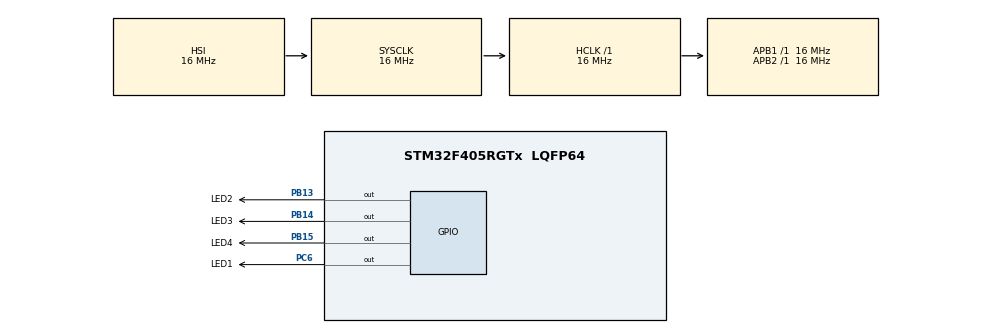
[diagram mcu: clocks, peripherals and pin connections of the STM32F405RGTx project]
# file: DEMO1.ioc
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Mcu.Family=STM32F4
Mcu.Name=STM32F405RGTx
Mcu.Package=LQFP64
NVIC.PriorityGroup=NVIC_PRIORITYGROUP_4
PA13.Mode=Serial_Wire
PA13.Signal=SYS_JTMS-SWDIO
PA14.Mode=Serial_Wire
PA14.Signal=SYS_JTCK-SWCLK
PB13.GPIO_Label=LED2
PB13.Signal=GPIO_Output
PB14.GPIO_Label=LED3
PB14.Signal=GPIO_Output
PB15.GPIO_Label=LED4
PB15.Signal=GPIO_Output
PC14-OSC32_IN.Mode=LSE-External-Oscillator
PC14-OSC32_IN.Signal=RCC_OSC32_IN
PC15-OSC32_OUT.Mode=LSE-External-Oscillator
PC15-OSC32_OUT.Signal=RCC_OSC32_OUT
PC6.GPIO_Label=LED1
PC6.Signal=GPIO_Output
PH0-OSC_IN.Mode=HSE-External-Oscillator
PH0-OSC_IN.Signal=RCC_OSC_IN
PH1-OSC_OUT.Mode=HSE-External-Oscillator
PH1-OSC_OUT.Signal=RCC_OSC_OUT
ProjectManager.HeapSize=0x200
ProjectManager.StackSize=0x400
ProjectManager.TargetToolchain=STM32CubeIDE
RCC.AHBFreq_Value=16000000
RCC.APB1Freq_Value=16000000
RCC.APB2Freq_Value=16000000
RCC.CortexFreq_Value=16000000
RCC.HSE_VALUE=25000000
RCC.HSI_VALUE=16000000
RCC.SYSCLKFreq_VALUE=16000000
RCC.VCOOutputFreq_Value=192000000
board=custom

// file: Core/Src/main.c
/* USER CODE BEGIN Header */
/**
  ******************************************************************************
  * @file           : main.c
  * @brief          : Main program body
  ******************************************************************************
  * @attention
  *
  * Copyright (c) 2023 STMicroelectronics.
  * All rights reserved.
  *
  * This software is licensed under terms that can be found in the LICENSE file
  * in the root directory of this software component.
  * If no LICENSE file comes with this software, it is provided AS-IS.
  *
  ******************************************************************************
  */
/* USER CODE END Header */
#include "main.h"

void SystemClock_Config(void);
static void MX_GPIO_Init(void);

int main(void)
{

  /* MCU Configuration--------------------------------------------------------*/

  /* Reset of all peripherals, Initializes the Flash interface and the Systick. */
  HAL_Init();

  /* Configure the system clock */
  SystemClock_Config();

  /* Initialize all configured peripherals */
  MX_GPIO_Init();

  /* Infinite loop */
  /* USER CODE BEGIN WHILE */
  while (1)
  {
	  HAL_GPIO_WritePin(GPIOC,LED1_Pin,0);
	  HAL_Delay(20);
	  HAL_GPIO_WritePin(GPIOC,LED1_Pin,1);
	  HAL_Delay(20);
	  HAL_GPIO_WritePin(GPIOB,LED2_Pin,0);
	  HAL_Delay(20);
	  HAL_GPIO_WritePin(GPIOB,LED2_Pin,1);
	  HAL_Delay(20);
	  HAL_GPIO_WritePin(GPIOB,LED3_Pin,0);
	  HAL_Delay(20);
	  HAL_GPIO_WritePin(GPIOB,LED3_Pin,1);
	  HAL_Delay(20);
	  HAL_GPIO_WritePin(GPIOB,LED4_Pin,0);
	  HAL_Delay(20);
	  HAL_GPIO_WritePin(GPIOB,LED4_Pin,1);
	  HAL_Delay(20);

    /* USER CODE END WHILE */

  }
}

void SystemClock_Config(void)
{
  RCC_OscInitTypeDef RCC_OscInitStruct = {0};
  RCC_ClkInitTypeDef RCC_ClkInitStruct = {0};

  /** Configure the main internal regulator output voltage
  */
  __HAL_RCC_PWR_CLK_ENABLE();
  __HAL_PWR_VOLTAGESCALING_CONFIG(PWR_REGULATOR_VOLTAGE_SCALE1);

  /** Initializes the RCC Oscillators according to the specified parameters
  * in the RCC_OscInitTypeDef structure.
  */
  RCC_OscInitStruct.OscillatorType = RCC_OSCILLATORTYPE_HSI;
  RCC_OscInitStruct.HSIState = RCC_HSI_ON;
  RCC_OscInitStruct.HSICalibrationValue = RCC_HSICALIBRATION_DEFAULT;
  RCC_OscInitStruct.PLL.PLLState = RCC_PLL_NONE;
  if (HAL_RCC_OscConfig(&RCC_OscInitStruct) != HAL_OK)
  {
    Error_Handler();
  }

  /** Initializes the CPU, AHB and APB buses clocks
  */
  RCC_ClkInitStruct.ClockType = RCC_CLOCKTYPE_HCLK|RCC_CLOCKTYPE_SYSCLK
                              |RCC_CLOCKTYPE_PCLK1|RCC_CLOCKTYPE_PCLK2;
  RCC_ClkInitStruct.SYSCLKSource = RCC_SYSCLKSOURCE_HSI;
  RCC_ClkInitStruct.AHBCLKDivider = RCC_SYSCLK_DIV1;
  RCC_ClkInitStruct.APB1CLKDivider = RCC_HCLK_DIV1;
  RCC_ClkInitStruct.APB2CLKDivider = RCC_HCLK_DIV1;

  if (HAL_RCC_ClockConfig(&RCC_ClkInitStruct, FLASH_LATENCY_0) != HAL_OK)
  {
    Error_Handler();
  }
}

static void MX_GPIO_Init(void)
{
  GPIO_InitTypeDef GPIO_InitStruct = {0};

  /* GPIO Ports Clock Enable */
  __HAL_RCC_GPIOC_CLK_ENABLE();
  __HAL_RCC_GPIOH_CLK_ENABLE();
  __HAL_RCC_GPIOB_CLK_ENABLE();
  __HAL_RCC_GPIOA_CLK_ENABLE();

  /*Configure GPIO pin Output Level */
  HAL_GPIO_WritePin(GPIOB, LED2_Pin|LED3_Pin|LED4_Pin, GPIO_PIN_RESET);

  /*Configure GPIO pin Output Level */
  HAL_GPIO_WritePin(LED1_GPIO_Port, LED1_Pin, GPIO_PIN_RESET);

  /*Configure GPIO pins : LED2_Pin LED3_Pin LED4_Pin */
  GPIO_InitStruct.Pin = LED2_Pin|LED3_Pin|LED4_Pin;
  GPIO_InitStruct.Mode = GPIO_MODE_OUTPUT_PP;
  GPIO_InitStruct.Pull = GPIO_NOPULL;
  GPIO_InitStruct.Speed = GPIO_SPEED_FREQ_LOW;
  HAL_GPIO_Init(GPIOB, &GPIO_InitStruct);

  /*Configure GPIO pin : LED1_Pin */
  GPIO_InitStruct.Pin = LED1_Pin;
  GPIO_InitStruct.Mode = GPIO_MODE_OUTPUT_PP;
  GPIO_InitStruct.Pull = GPIO_NOPULL;
  GPIO_InitStruct.Speed = GPIO_SPEED_FREQ_LOW;
  HAL_GPIO_Init(LED1_GPIO_Port, &GPIO_InitStruct);

}

void Error_Handler(void)
{
  __disable_irq();
  while (1)
  {
  }
}
